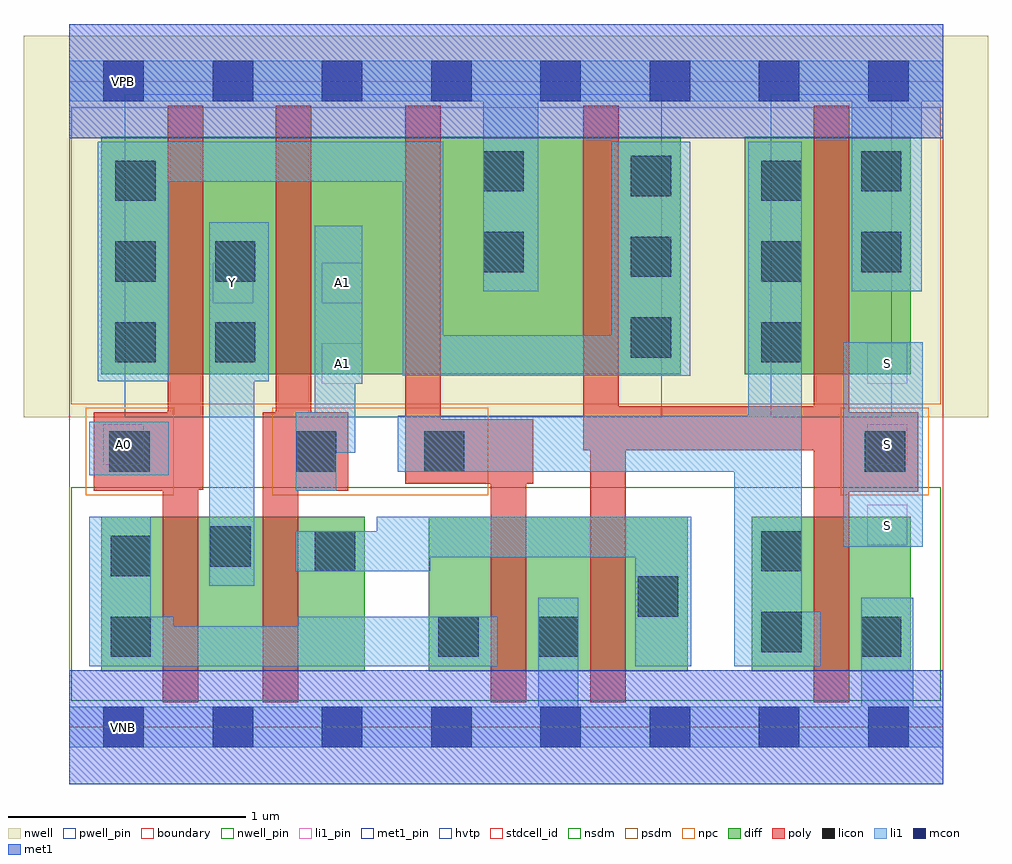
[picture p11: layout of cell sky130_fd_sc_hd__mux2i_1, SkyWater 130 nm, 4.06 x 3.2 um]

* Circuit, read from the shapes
.subckt sky130_fd_sc_hd__mux2i_1 A0 A1 S VGND VNB VPB VPWR Y
XM1 Y A0 n1 VNB sky130_fd_pr__nfet_01v8 w=0.65 l=0.15
XM2 n2 A1 Y VNB sky130_fd_pr__nfet_01v8 w=0.65 l=0.15
XM3 VGND n3 n1 VNB sky130_fd_pr__nfet_01v8 w=0.65 l=0.15
XM4 n2 S VGND VNB sky130_fd_pr__nfet_01v8 w=0.65 l=0.15
XM5 VGND S n3 VNB sky130_fd_pr__nfet_01v8 w=0.65 l=0.15
XM6 Y A0 n4 VPB sky130_fd_pr__pfet_01v8_hvt w=1 l=0.15
XM7 n5 A1 Y VPB sky130_fd_pr__pfet_01v8_hvt w=1 l=0.15
XM8 VPWR n3 n5 VPB sky130_fd_pr__pfet_01v8_hvt w=1 l=0.15
XM9 n4 S VPWR VPB sky130_fd_pr__pfet_01v8_hvt w=1 l=0.15
XM10 VPWR S n3 VPB sky130_fd_pr__pfet_01v8_hvt w=1 l=0.15
.ends

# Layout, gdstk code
import gdstk
lib = gdstk.Library(unit=1e-6, precision=1e-09)
def R(c, l, rs):  # rectangles x0, y0, x1, y1
    for r in rs: c.add(gdstk.rectangle(r[:2], r[2:], *l))
def A(c, l, x, y, w, h, nx, ny, dx, dy):  # array of equal rectangles
    R(c, l, [(x+i*dx, y+j*dy, x+i*dx+w, y+j*dy+h) for i in range(nx) for j in range(ny)])
nwell_pin = (64, 16)
nwell = (64, 20)
diff = (65, 20)
poly = (66, 20)
licon = (66, 44)
li1_pin = (67, 16)
li1 = (67, 20)
mcon = (67, 44)
met1_pin = (68, 16)
met1 = (68, 20)
hvtp = (78, 44)
stdcell_id = (81, 4)
nsdm = (93, 44)
psdm = (94, 20)
npc = (95, 20)
pwell_pin = (122, 16)
boundary = (235, 4)

sky130_fd_sc_hd__mux2i_1 = lib.new_cell('sky130_fd_sc_hd__mux2i_1')
R(sky130_fd_sc_hd__mux2i_1, nwell_pin, [(0.145,2.635,0.315,2.805)])
R(sky130_fd_sc_hd__mux2i_1, nwell, [(-0.19,1.305,3.87,2.91)])
R(sky130_fd_sc_hd__mux2i_1, diff, [(0.135,0.235,1.245,0.885), (1.515,0.235,2.605,0.885), (2.875,0.235,3.545,0.885), (0.135,1.485,2.575,2.485), (2.845,1.485,3.545,2.485)])
R(sky130_fd_sc_hd__mux2i_1, poly, [(0.395,0.105,0.545,0.995), (0.815,0.105,0.965,0.995), (1.775,0.105,1.925,1.025), (2.195,0.105,2.345,1.165), (3.135,0.105,3.285,0.99), (3.135,0.99,3.575,1.165), (0.105,0.995,0.545,1), (0.815,0.995,1.175,1.325), (0.105,1,0.565,1.325), (1.415,1.025,1.955,1.295), (2.165,1.165,3.575,1.325), (1.415,1.295,1.565,2.615), (0.415,1.325,0.565,2.615), (0.87,1.325,1.02,2.615), (2.165,1.325,3.285,1.35), (2.165,1.35,2.315,2.615), (3.135,1.35,3.285,2.615)])
A(sky130_fd_sc_hd__mux2i_1, licon, 0.195, 1.535, 0.17, 0.17, 1, 3, 0, 0.34)
A(sky130_fd_sc_hd__mux2i_1, licon, 2.915, 1.535, 0.17, 0.17, 1, 3, 0, 0.34)
A(sky130_fd_sc_hd__mux2i_1, licon, 2.365, 1.555, 0.17, 0.17, 1, 3, 0, 0.34)
R(sky130_fd_sc_hd__mux2i_1, licon, [(0.175,0.295,0.345,0.465), (1.555,0.295,1.725,0.465), (1.975,0.295,2.145,0.465), (3.335,0.295,3.505,0.465), (2.915,0.315,3.085,0.485), (2.395,0.465,2.565,0.635), (0.175,0.635,0.345,0.805), (1.035,0.655,1.205,0.825), (2.915,0.655,3.085,0.825), (0.595,0.675,0.765,0.845), (0.17,1.075,0.34,1.245), (0.955,1.075,1.125,1.245), (1.495,1.075,1.665,1.245), (3.35,1.075,3.52,1.245), (0.615,1.535,0.785,1.705), (0.615,1.875,0.785,2.045), (1.745,1.915,1.915,2.085), (3.335,1.915,3.505,2.085), (1.745,2.255,1.915,2.425), (3.335,2.255,3.505,2.425)])
A(sky130_fd_sc_hd__mux2i_1, li1_pin, 3.36, 0.765, 0.17, 0.17, 1, 3, 0, 0.34)
R(sky130_fd_sc_hd__mux2i_1, li1_pin, [(0.145,1.105,0.315,1.275), (1.065,1.445,1.235,1.615), (0.605,1.785,0.775,1.955), (1.065,1.785,1.235,1.955)])
R(sky130_fd_sc_hd__mux2i_1, li1, [(0,-0.085,3.68,0.085), (1.975,0.085,2.145,0.545), (3.335,0.085,3.555,0.545), (0.085,0.255,1.805,0.425), (2.385,0.255,2.62,0.715), (2.8,0.255,3.165,0.485), (0.085,0.425,0.44,0.465), (0.965,0.425,1.805,0.465), (0.085,0.465,0.345,0.885), (2.8,0.485,3.085,1.075), (0.59,0.595,0.78,1.455), (0.955,0.655,1.52,0.715), (0.955,0.715,2.62,0.825), (3.26,0.76,3.595,1.62), (1.295,0.825,2.62,0.885), (0.955,0.995,1.125,1.155), (0.085,1.06,0.42,1.285), (1.385,1.075,3.085,1.31), (0.955,1.155,1.205,1.325), (2.86,1.31,3.085,2.465), (1.035,1.325,1.205,1.445), (1.035,1.445,1.235,2.11), (0.12,1.455,0.42,2.295), (0.59,1.455,0.84,2.125), (1.405,1.48,2.615,1.65), (1.405,1.65,1.575,2.295), (2.285,1.65,2.615,2.465), (1.745,1.835,1.975,2.635), (3.295,1.835,3.59,2.635), (0.12,2.295,1.575,2.465), (0,2.635,3.68,2.805)])
A(sky130_fd_sc_hd__mux2i_1, mcon, 0.145, -0.085, 0.17, 0.17, 8, 2, 0.46, 2.72)
R(sky130_fd_sc_hd__mux2i_1, met1_pin, [(0.145,-0.085,0.315,0.085), (0.145,2.635,0.315,2.805)])
R(sky130_fd_sc_hd__mux2i_1, met1, [(0,-0.24,3.68,0.24), (0,2.48,3.68,2.96)])
R(sky130_fd_sc_hd__mux2i_1, hvtp, [(0.235,1.305,2.495,2.665), (2.955,1.305,3.465,2.665)])
R(sky130_fd_sc_hd__mux2i_1, stdcell_id, [(0,0,3.68,2.72)])
R(sky130_fd_sc_hd__mux2i_1, nsdm, [(0.01,0.11,3.67,1.01)])
R(sky130_fd_sc_hd__mux2i_1, psdm, [(0.01,1.36,3.67,2.61)])
R(sky130_fd_sc_hd__mux2i_1, npc, [(0.07,0.975,0.44,1.345), (0.855,0.975,1.765,1.345), (3.25,0.975,3.62,1.345)])
R(sky130_fd_sc_hd__mux2i_1, pwell_pin, [(0.145,-0.085,0.315,0.085)])
R(sky130_fd_sc_hd__mux2i_1, boundary, [(0,0,3.68,2.72)])
sky130_fd_sc_hd__mux2i_1.add(gdstk.Label('VPB', (0.23,2.72), layer=64, texttype=5))
sky130_fd_sc_hd__mux2i_1.add(gdstk.Label('VNB', (0.23,0), layer=64, texttype=59))
sky130_fd_sc_hd__mux2i_1.add(gdstk.Label('VGND', (0.23,0), layer=68, texttype=5))
sky130_fd_sc_hd__mux2i_1.add(gdstk.Label('VPWR', (0.23,2.72), layer=68, texttype=5))
sky130_fd_sc_hd__mux2i_1.add(gdstk.Label('A0', (0.23,1.19), layer=67, texttype=5))
sky130_fd_sc_hd__mux2i_1.add(gdstk.Label('Y', (0.69,1.87), layer=67, texttype=5))
sky130_fd_sc_hd__mux2i_1.add(gdstk.Label('A1', (1.15,1.53), layer=67, texttype=5))
sky130_fd_sc_hd__mux2i_1.add(gdstk.Label('A1', (1.15,1.87), layer=67, texttype=5))
sky130_fd_sc_hd__mux2i_1.add(gdstk.Label('S', (3.445,1.53), layer=67, texttype=5))
sky130_fd_sc_hd__mux2i_1.add(gdstk.Label('S', (3.445,0.85), layer=67, texttype=5))
sky130_fd_sc_hd__mux2i_1.add(gdstk.Label('S', (3.445,1.19), layer=67, texttype=5))

lib.write_gds('sky130_fd_sc_hd__mux2i_1.gds')
